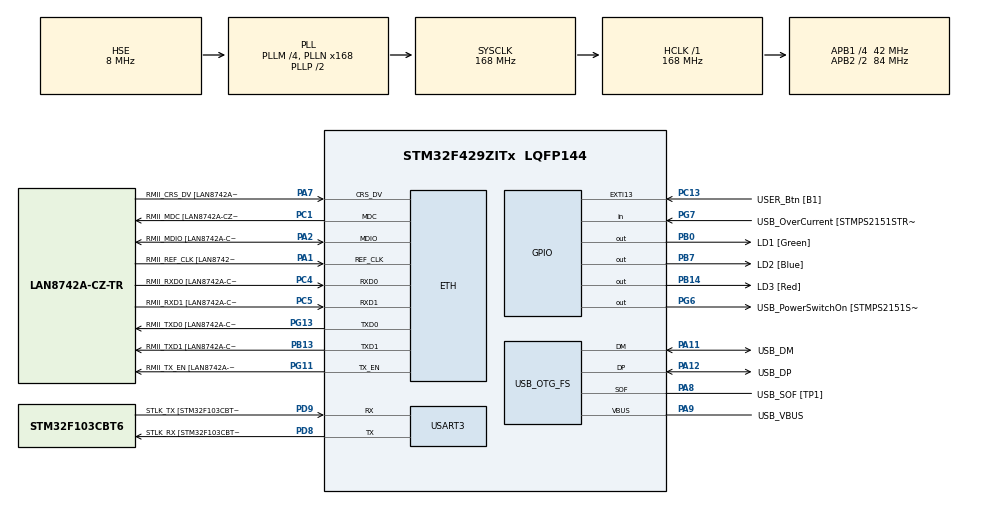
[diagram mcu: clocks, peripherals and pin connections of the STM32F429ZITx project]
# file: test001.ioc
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ETH.MediaInterface=ETH_MEDIA_INTERFACE_RMII
ETH.PHY_Name=LAN8742A_PHY_ADDRESS
ETH.PHY_Value=0
ETH.PhyAddress=0
Mcu.Family=STM32F4
Mcu.Name=STM32F429ZITx
Mcu.Package=LQFP144
NVIC.PriorityGroup=NVIC_PRIORITYGROUP_4
PA1.GPIO_Label=RMII_REF_CLK [LAN8742A-CZ-TR_REFCLK0]
PA1.Mode=RMII
PA1.Signal=ETH_REF_CLK
PA10.GPIO_Label=USB_ID
PA10.Signal=USB_OTG_FS_ID
PA11.GPIO_Label=USB_DM
PA11.Mode=Device_Only
PA11.Signal=USB_OTG_FS_DM
PA12.GPIO_Label=USB_DP
PA12.Mode=Device_Only
PA12.Signal=USB_OTG_FS_DP
PA13.GPIO_Label=TMS
PA13.Mode=Serial_Wire
PA13.Signal=SYS_JTMS-SWDIO
PA14.GPIO_Label=TCK
PA14.Mode=Serial_Wire
PA14.Signal=SYS_JTCK-SWCLK
PA2.GPIO_Label=RMII_MDIO [LAN8742A-CZ-TR_MDIO]
PA2.Mode=RMII
PA2.Signal=ETH_MDIO
PA7.GPIO_Label=RMII_CRS_DV [LAN8742A-CZ-TR_CRS_DV]
PA7.Mode=RMII
PA7.Signal=ETH_CRS_DV
PA8.GPIO_Label=USB_SOF [TP1]
PA8.Mode=Activate_SOF_FS
PA8.Signal=USB_OTG_FS_SOF
PA9.GPIO_Label=USB_VBUS
PA9.Mode=Activate_VBUS
PA9.Signal=USB_OTG_FS_VBUS
PB0.GPIO_Label=LD1 [Green]
PB0.Signal=GPIO_Output
PB13.GPIO_Label=RMII_TXD1 [LAN8742A-CZ-TR_TXD1]
PB13.Mode=RMII
PB13.Signal=ETH_TXD1
PB14.GPIO_Label=LD3 [Red]
PB14.Signal=GPIO_Output
PB7.GPIO_Label=LD2 [Blue]
PB7.Signal=GPIO_Output
PC1.GPIO_Label=RMII_MDC [LAN8742A-CZ-TR_MDC]
PC1.Mode=RMII
PC1.Signal=ETH_MDC
PC13.GPIO_Label=USER_Btn [B1]
PC13.Signal=GPXTI13
PC14/OSC32_IN.Mode=LSE-External-Oscillator
PC14/OSC32_IN.Signal=RCC_OSC32_IN
PC15/OSC32_OUT.Mode=LSE-External-Oscillator
PC15/OSC32_OUT.Signal=RCC_OSC32_OUT
PC4.GPIO_Label=RMII_RXD0 [LAN8742A-CZ-TR_RXD0]
PC4.Mode=RMII
PC4.Signal=ETH_RXD0
PC5.GPIO_Label=RMII_RXD1 [LAN8742A-CZ-TR_RXD1]
PC5.Mode=RMII
PC5.Signal=ETH_RXD1
PD8.GPIO_Label=STLK_RX [STM32F103CBT6_PA3]
PD8.Mode=Asynchronous
PD8.Signal=USART3_TX
PD9.GPIO_Label=STLK_TX [STM32F103CBT6_PA2]
PD9.Mode=Asynchronous
PD9.Signal=USART3_RX
PG11.GPIO_Label=RMII_TX_EN [LAN8742A-CZ-TR_TXEN]
PG11.Mode=RMII
PG11.Signal=ETH_TX_EN
PG13.GPIO_Label=RMII_TXD0 [LAN8742A-CZ-TR_TXD0]
PG13.Mode=RMII
PG13.Signal=ETH_TXD0
PG6.GPIO_Label=USB_PowerSwitchOn [STMPS2151STR_EN]
PG6.Signal=GPIO_Output
PG7.GPIO_Label=USB_OverCurrent [STMPS2151STR_FAULT]
PG7.Signal=GPIO_Input
PH0/OSC_IN.GPIO_Label=MCO [STM32F103CBT6_PA8]
PH0/OSC_IN.Mode=HSE-External-Clock-Source
PH0/OSC_IN.Signal=RCC_OSC_IN
PH1/OSC_OUT.Mode=HSE-External-Clock-Source
PH1/OSC_OUT.Signal=RCC_OSC_OUT
ProjectManager.HeapSize=0x200
ProjectManager.StackSize=0x400
ProjectManager.TargetToolchain=STM32CubeIDE
RCC.48MHZClocksFreq_Value=48000000
RCC.AHBFreq_Value=168000000
RCC.APB1CLKDivider=RCC_HCLK_DIV4
RCC.APB1Freq_Value=42000000
RCC.APB1TimFreq_Value=84000000
RCC.APB2CLKDivider=RCC_HCLK_DIV2
RCC.APB2Freq_Value=84000000
RCC.APB2TimCLKDivider=2
RCC.APB2TimFreq_Value=168000000
RCC.CortexFreq_Value=168000000
RCC.HCLKFreq_Value=168000000
RCC.HSE_VALUE=8000000
RCC.HSI_VALUE=16000000
RCC.PLLM=4
RCC.PLLMUL=RCC_PLL_MUL9
RCC.PLLN=168
RCC.PLLQ=7
RCC.PRESCALERUSB=RCC_USBCLKSOURCE_PLL_DIV1_5
RCC.SYSCLKFreq_VALUE=168000000
RCC.SYSCLKSource=RCC_SYSCLKSOURCE_PLLCLK
RCC.SYSCLKSourceVirtual=RCC_SYSCLKSOURCE_PLLCLK
RCC.USBFreq_Value=48000000
RCC.VCOOutputFreq_Value=336000000
USART3.VirtualMode=VM_ASYNC
USB_OTG_FS.VirtualMode=Device_Only
board=NUCLEO-F429ZI

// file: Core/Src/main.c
/* USER CODE BEGIN Header */
/**
  ******************************************************************************
  * @file           : main.c
  * @brief          : Main program body
  ******************************************************************************
  * @attention
  *
  * Copyright (c) 2022 STMicroelectronics.
  * All rights reserved.
  *
  * This software is licensed under terms that can be found in the LICENSE file
  * in the root directory of this software component.
  * If no LICENSE file comes with this software, it is provided AS-IS.
  *
  ******************************************************************************
  */
/* USER CODE END Header */
#include "main.h"

/* USER CODE BEGIN Includes */
#include <stdio.h>

/* USER CODE END Includes */

ETH_HandleTypeDef heth;

UART_HandleTypeDef huart3;

PCD_HandleTypeDef hpcd_USB_OTG_FS;

void SystemClock_Config(void);
static void MX_GPIO_Init(void);
static void MX_ETH_Init(void);
static void MX_USART3_UART_Init(void);
static void MX_USB_OTG_FS_PCD_Init(void);

/* USER CODE BEGIN 0 */
unsigned char Receive_Buffer[1];
bool RxFlag;
int _write(int file, unsigned char* p, int len)
{
	HAL_StatusTypeDef status = HAL_UART_Transmit(&huart3,p,len,100);
			return (status == HAL_OK ? len : 0);
}
/* USER CODE END 0 */

int main(void)
{

  /* MCU Configuration--------------------------------------------------------*/

  /* Reset of all peripherals, Initializes the Flash interface and the Systick. */
  HAL_Init();

  /* Configure the system clock */
  SystemClock_Config();

  /* Initialize all configured peripherals */
  MX_GPIO_Init();
  MX_ETH_Init();
  MX_USART3_UART_Init();
  MX_USB_OTG_FS_PCD_Init();
  /* USER CODE BEGIN 2 */
  __HAL_UART_ENABLE_IT(&huart3 ,UART_IT_RXNE);
  __HAL_UART_ENABLE_IT(&huart3 ,UART_IT_TC);
  printf("Example_6_2 Echo UART\r\n");

  /* USER CODE END 2 */

  /* Infinite loop */
  /* USER CODE BEGIN WHILE */
  while(1)
  {
	  if(RxFlag)
	  {
		  printf("rx = %d[%c]\r\n", Receive_Buffer[0], Receive_Buffer[0]);
		  RxFlag = FALSE;
	  }
  /*
  USER CODE END WHILE
  /*  USER CODE BEGIN 3 */
  /* USER CODE END WHILE */

  /* USER CODE BEGIN 3 */

  /* USER CODE END WHILE */

  /* USER CODE BEGIN 3 */

  /* USER CODE END 3 */
}

void SystemClock_Config(void)
{
  RCC_OscInitTypeDef RCC_OscInitStruct = {0};
  RCC_ClkInitTypeDef RCC_ClkInitStruct = {0};

  /** Configure the main internal regulator output voltage
  */
  __HAL_RCC_PWR_CLK_ENABLE();
  __HAL_PWR_VOLTAGESCALING_CONFIG(PWR_REGULATOR_VOLTAGE_SCALE1);
  /** Initializes the RCC Oscillators according to the specified parameters
  * in the RCC_OscInitTypeDef structure.
  */
  RCC_OscInitStruct.OscillatorType = RCC_OSCILLATORTYPE_HSE;
  RCC_OscInitStruct.HSEState = RCC_HSE_BYPASS;
  RCC_OscInitStruct.PLL.PLLState = RCC_PLL_ON;
  RCC_OscInitStruct.PLL.PLLSource = RCC_PLLSOURCE_HSE;
  RCC_OscInitStruct.PLL.PLLM = 4;
  RCC_OscInitStruct.PLL.PLLN = 168;
  RCC_OscInitStruct.PLL.PLLP = RCC_PLLP_DIV2;
  RCC_OscInitStruct.PLL.PLLQ = 7;
  if (HAL_RCC_OscConfig(&RCC_OscInitStruct) != HAL_OK)
  {
    Error_Handler();
  }
  /** Initializes the CPU, AHB and APB buses clocks
  */
  RCC_ClkInitStruct.ClockType = RCC_CLOCKTYPE_HCLK|RCC_CLOCKTYPE_SYSCLK
                              |RCC_CLOCKTYPE_PCLK1|RCC_CLOCKTYPE_PCLK2;
  RCC_ClkInitStruct.SYSCLKSource = RCC_SYSCLKSOURCE_PLLCLK;
  RCC_ClkInitStruct.AHBCLKDivider = RCC_SYSCLK_DIV1;
  RCC_ClkInitStruct.APB1CLKDivider = RCC_HCLK_DIV4;
  RCC_ClkInitStruct.APB2CLKDivider = RCC_HCLK_DIV2;

  if (HAL_RCC_ClockConfig(&RCC_ClkInitStruct, FLASH_LATENCY_5) != HAL_OK)
  {
    Error_Handler();
  }
}

static void MX_ETH_Init(void)
{

   static uint8_t MACAddr[6];

  heth.Instance = ETH;
  heth.Init.AutoNegotiation = ETH_AUTONEGOTIATION_ENABLE;
  heth.Init.Speed = ETH_SPEED_100M;
  heth.Init.DuplexMode = ETH_MODE_FULLDUPLEX;
  heth.Init.PhyAddress = LAN8742A_PHY_ADDRESS;
  MACAddr[0] = 0x00;
  MACAddr[1] = 0x80;
  MACAddr[2] = 0xE1;
  MACAddr[3] = 0x00;
  MACAddr[4] = 0x00;
  MACAddr[5] = 0x00;
  heth.Init.MACAddr = &MACAddr[0];
  heth.Init.RxMode = ETH_RXPOLLING_MODE;
  heth.Init.ChecksumMode = ETH_CHECKSUM_BY_HARDWARE;
  heth.Init.MediaInterface = ETH_MEDIA_INTERFACE_RMII;

  if (HAL_ETH_Init(&heth) != HAL_OK)
  {
    Error_Handler();
  }

}

static void MX_USART3_UART_Init(void)
{

  huart3.Instance = USART3;
  huart3.Init.BaudRate = 115200;
  huart3.Init.WordLength = UART_WORDLENGTH_8B;
  huart3.Init.StopBits = UART_STOPBITS_1;
  huart3.Init.Parity = UART_PARITY_NONE;
  huart3.Init.Mode = UART_MODE_TX_RX;
  huart3.Init.HwFlowCtl = UART_HWCONTROL_NONE;
  huart3.Init.OverSampling = UART_OVERSAMPLING_16;
  if (HAL_UART_Init(&huart3) != HAL_OK)
  {
    Error_Handler();
  }

}

static void MX_USB_OTG_FS_PCD_Init(void)
{

  hpcd_USB_OTG_FS.Instance = USB_OTG_FS;
  hpcd_USB_OTG_FS.Init.dev_endpoints = 4;
  hpcd_USB_OTG_FS.Init.speed = PCD_SPEED_FULL;
  hpcd_USB_OTG_FS.Init.dma_enable = DISABLE;
  hpcd_USB_OTG_FS.Init.phy_itface = PCD_PHY_EMBEDDED;
  hpcd_USB_OTG_FS.Init.Sof_enable = ENABLE;
  hpcd_USB_OTG_FS.Init.low_power_enable = DISABLE;
  hpcd_USB_OTG_FS.Init.lpm_enable = DISABLE;
  hpcd_USB_OTG_FS.Init.vbus_sensing_enable = ENABLE;
  hpcd_USB_OTG_FS.Init.use_dedicated_ep1 = DISABLE;
  if (HAL_PCD_Init(&hpcd_USB_OTG_FS) != HAL_OK)
  {
    Error_Handler();
  }

}

static void MX_GPIO_Init(void)
{
  GPIO_InitTypeDef GPIO_InitStruct = {0};

  /* GPIO Ports Clock Enable */
  __HAL_RCC_GPIOC_CLK_ENABLE();
  __HAL_RCC_GPIOH_CLK_ENABLE();
  __HAL_RCC_GPIOA_CLK_ENABLE();
  __HAL_RCC_GPIOB_CLK_ENABLE();
  __HAL_RCC_GPIOD_CLK_ENABLE();
  __HAL_RCC_GPIOG_CLK_ENABLE();

  /*Configure GPIO pin Output Level */
  HAL_GPIO_WritePin(GPIOB, LD1_Pin|LD3_Pin|LD2_Pin, GPIO_PIN_RESET);

  /*Configure GPIO pin Output Level */
  HAL_GPIO_WritePin(USB_PowerSwitchOn_GPIO_Port, USB_PowerSwitchOn_Pin, GPIO_PIN_RESET);

  /*Configure GPIO pin : USER_Btn_Pin */
  GPIO_InitStruct.Pin = USER_Btn_Pin;
  GPIO_InitStruct.Mode = GPIO_MODE_IT_RISING;
  GPIO_InitStruct.Pull = GPIO_NOPULL;
  HAL_GPIO_Init(USER_Btn_GPIO_Port, &GPIO_InitStruct);

  /*Configure GPIO pins : LD1_Pin LD3_Pin LD2_Pin */
  GPIO_InitStruct.Pin = LD1_Pin|LD3_Pin|LD2_Pin;
  GPIO_InitStruct.Mode = GPIO_MODE_OUTPUT_PP;
  GPIO_InitStruct.Pull = GPIO_NOPULL;
  GPIO_InitStruct.Speed = GPIO_SPEED_FREQ_LOW;
  HAL_GPIO_Init(GPIOB, &GPIO_InitStruct);

  /*Configure GPIO pin : USB_PowerSwitchOn_Pin */
  GPIO_InitStruct.Pin = USB_PowerSwitchOn_Pin;
  GPIO_InitStruct.Mode = GPIO_MODE_OUTPUT_PP;
  GPIO_InitStruct.Pull = GPIO_NOPULL;
  GPIO_InitStruct.Speed = GPIO_SPEED_FREQ_LOW;
  HAL_GPIO_Init(USB_PowerSwitchOn_GPIO_Port, &GPIO_InitStruct);

  /*Configure GPIO pin : USB_OverCurrent_Pin */
  GPIO_InitStruct.Pin = USB_OverCurrent_Pin;
  GPIO_InitStruct.Mode = GPIO_MODE_INPUT;
  GPIO_InitStruct.Pull = GPIO_NOPULL;
  HAL_GPIO_Init(USB_OverCurrent_GPIO_Port, &GPIO_InitStruct);

}

/* USER CODE BEGIN 4 */
void UART_Interrupt_Processing(UART_HandleTypeDef *huart)
{
	if(huart-->Instance == huart3.Instance);
	{
		if(HAL_UART_Receive_IT(&huart3,Receive_Buffer,1) == HAL_OK)
		{
			RxFlag = TRUE;
		}
	}
}
/* USER CODE END 4 */

void Error_Handler(void)
{
  __disable_irq();
  while (1)
  {
  }
}
